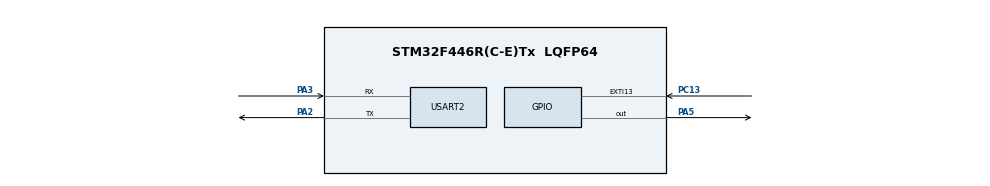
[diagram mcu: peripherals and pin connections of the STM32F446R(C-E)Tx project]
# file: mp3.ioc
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FREERTOS.Tasks01=defaultTask,24,128,StartDefaultTask,Default,NULL,Dynamic,NULL,NULL
FREERTOS.configUSE_NEWLIB_REENTRANT=1
Mcu.Family=STM32F4
Mcu.Name=STM32F446R(C-E)Tx
Mcu.Package=LQFP64
NVIC.EXTI15_10_IRQn=true\:5\:0\:true\:false\:true\:true\:true\:true\:true
NVIC.PriorityGroup=NVIC_PRIORITYGROUP_4
NVIC.TIM6_DAC_IRQn=true\:15\:0\:false\:false\:true\:false\:false\:true\:true
NVIC.TimeBase=TIM6_DAC_IRQn
NVIC.TimeBaseIP=TIM6
PA13.Mode=Serial_Wire
PA13.Signal=SYS_JTMS-SWDIO
PA14.Mode=Serial_Wire
PA14.Signal=SYS_JTCK-SWCLK
PA2.Mode=Asynchronous
PA2.Signal=USART2_TX
PA3.Mode=Asynchronous
PA3.Signal=USART2_RX
PA5.Signal=GPIO_Output
PC13.GPIO_ModeDefaultEXTI=GPIO_MODE_IT_FALLING
PC13.Signal=GPXTI13
PC14-OSC32_IN.Mode=LSE-External-Oscillator
PC14-OSC32_IN.Signal=RCC_OSC32_IN
PC15-OSC32_OUT.Mode=LSE-External-Oscillator
PC15-OSC32_OUT.Signal=RCC_OSC32_OUT
PH0-OSC_IN.Mode=HSE-External-Oscillator
PH0-OSC_IN.Signal=RCC_OSC_IN
PH1-OSC_OUT.Mode=HSE-External-Oscillator
PH1-OSC_OUT.Signal=RCC_OSC_OUT
ProjectManager.HeapSize=0x200
ProjectManager.StackSize=0x400
ProjectManager.TargetToolchain=STM32CubeIDE
RCC.CortexFreq_Value=16000000
RCC.USBFreq_Value=96000000
RCC.VCOOutputFreq_Value=192000000
USART2.VirtualMode=VM_ASYNC
VP_FREERTOS_VS_CMSIS_V2.Mode=CMSIS_V2
VP_SYS_VS_tim6.Mode=TIM6
board=custom

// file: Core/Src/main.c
/* USER CODE BEGIN Header */
/**
  ******************************************************************************
  * @file           : main.c
  * @brief          : Main program body
  ******************************************************************************
  * @attention
  *
  * Copyright (c) 2026 STMicroelectronics.
  * All rights reserved.
  *
  * This software is licensed under terms that can be found in the LICENSE file
  * in the root directory of this software component.
  * If no LICENSE file comes with this software, it is provided AS-IS.
  *
  ******************************************************************************
  */
/* USER CODE END Header */
#include "main.h"
#include "cmsis_os.h"

UART_HandleTypeDef huart2;

/* Definitions for defaultTask */
osThreadId_t defaultTaskHandle;
const osThreadAttr_t defaultTask_attributes = {
  .name = "defaultTask",
  .stack_size = 128 * 4,
  .priority = (osPriority_t) osPriorityNormal,
};

void SystemClock_Config(void);
static void MX_GPIO_Init(void);
static void MX_USART2_UART_Init(void);
void StartDefaultTask(void *argument);

/* USER CODE BEGIN PFP */
void AppRtosInit(void);
/* USER CODE END PFP */

int main(void)
{

  /* MCU Configuration--------------------------------------------------------*/

  /* Reset of all peripherals, Initializes the Flash interface and the Systick. */
  HAL_Init();

  /* Configure the system clock */
  SystemClock_Config();

  /* Initialize all configured peripherals */
  MX_GPIO_Init();
  MX_USART2_UART_Init();

  /* Init scheduler */
  osKernelInitialize();

  /* Create the thread(s) */
  /* creation of defaultTask */
  defaultTaskHandle = osThreadNew(StartDefaultTask, NULL, &defaultTask_attributes);

  /* USER CODE BEGIN RTOS_THREADS */
  /* add threads, ... */
  AppRtosInit();
  /* USER CODE END RTOS_THREADS */

  /* Start scheduler */
  osKernelStart();

  /* We should never get here as control is now taken by the scheduler */

  /* Infinite loop */
  while (1)
  {

  }
}

void SystemClock_Config(void)
{
  RCC_OscInitTypeDef RCC_OscInitStruct = {0};
  RCC_ClkInitTypeDef RCC_ClkInitStruct = {0};

  /** Configure the main internal regulator output voltage
  */
  __HAL_RCC_PWR_CLK_ENABLE();
  __HAL_PWR_VOLTAGESCALING_CONFIG(PWR_REGULATOR_VOLTAGE_SCALE3);

  /** Initializes the RCC Oscillators according to the specified parameters
  * in the RCC_OscInitTypeDef structure.
  */
  RCC_OscInitStruct.OscillatorType = RCC_OSCILLATORTYPE_HSI;
  RCC_OscInitStruct.HSIState = RCC_HSI_ON;
  RCC_OscInitStruct.HSICalibrationValue = RCC_HSICALIBRATION_DEFAULT;
  RCC_OscInitStruct.PLL.PLLState = RCC_PLL_NONE;
  if (HAL_RCC_OscConfig(&RCC_OscInitStruct) != HAL_OK)
  {
    Error_Handler();
  }

  /** Initializes the CPU, AHB and APB buses clocks
  */
  RCC_ClkInitStruct.ClockType = RCC_CLOCKTYPE_HCLK|RCC_CLOCKTYPE_SYSCLK
                              |RCC_CLOCKTYPE_PCLK1|RCC_CLOCKTYPE_PCLK2;
  RCC_ClkInitStruct.SYSCLKSource = RCC_SYSCLKSOURCE_HSI;
  RCC_ClkInitStruct.AHBCLKDivider = RCC_SYSCLK_DIV1;
  RCC_ClkInitStruct.APB1CLKDivider = RCC_HCLK_DIV1;
  RCC_ClkInitStruct.APB2CLKDivider = RCC_HCLK_DIV1;

  if (HAL_RCC_ClockConfig(&RCC_ClkInitStruct, FLASH_LATENCY_0) != HAL_OK)
  {
    Error_Handler();
  }
}

static void MX_USART2_UART_Init(void)
{

  huart2.Instance = USART2;
  huart2.Init.BaudRate = 115200;
  huart2.Init.WordLength = UART_WORDLENGTH_8B;
  huart2.Init.StopBits = UART_STOPBITS_1;
  huart2.Init.Parity = UART_PARITY_NONE;
  huart2.Init.Mode = UART_MODE_TX_RX;
  huart2.Init.HwFlowCtl = UART_HWCONTROL_NONE;
  huart2.Init.OverSampling = UART_OVERSAMPLING_16;
  if (HAL_UART_Init(&huart2) != HAL_OK)
  {
    Error_Handler();
  }

}

static void MX_GPIO_Init(void)
{
  GPIO_InitTypeDef GPIO_InitStruct = {0};

  /* GPIO Ports Clock Enable */
  __HAL_RCC_GPIOC_CLK_ENABLE();
  __HAL_RCC_GPIOH_CLK_ENABLE();
  __HAL_RCC_GPIOA_CLK_ENABLE();

  /*Configure GPIO pin Output Level */
  HAL_GPIO_WritePin(GPIOA, GPIO_PIN_5, GPIO_PIN_RESET);

  /*Configure GPIO pin : PC13 */
  GPIO_InitStruct.Pin = GPIO_PIN_13;
  GPIO_InitStruct.Mode = GPIO_MODE_IT_FALLING;
  GPIO_InitStruct.Pull = GPIO_NOPULL;
  HAL_GPIO_Init(GPIOC, &GPIO_InitStruct);

  /*Configure GPIO pin : PA5 */
  GPIO_InitStruct.Pin = GPIO_PIN_5;
  GPIO_InitStruct.Mode = GPIO_MODE_OUTPUT_PP;
  GPIO_InitStruct.Pull = GPIO_NOPULL;
  GPIO_InitStruct.Speed = GPIO_SPEED_FREQ_LOW;
  HAL_GPIO_Init(GPIOA, &GPIO_InitStruct);

  /* EXTI interrupt init*/
  HAL_NVIC_SetPriority(EXTI15_10_IRQn, 5, 0);
  HAL_NVIC_EnableIRQ(EXTI15_10_IRQn);

}

void StartDefaultTask(void *argument)
{
  for(;;)
  {
    osDelay(1);
  }
}

void HAL_TIM_PeriodElapsedCallback(TIM_HandleTypeDef *htim)
{
  if (htim->Instance == TIM6)
  {
    HAL_IncTick();
  }
}

void Error_Handler(void)
{
  __disable_irq();
  while (1)
  {
  }
}

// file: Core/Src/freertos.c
/* USER CODE BEGIN Header */
/**
  ******************************************************************************
  * File Name          : freertos.c
  * Description        : Code for freertos applications
  ******************************************************************************
  * @attention
  *
  * Copyright (c) 2026 STMicroelectronics.
  * All rights reserved.
  *
  * This software is licensed under terms that can be found in the LICENSE file
  * in the root directory of this software component.
  * If no LICENSE file comes with this software, it is provided AS-IS.
  *
  ******************************************************************************
  */
/* USER CODE END Header */

#include "FreeRTOS.h"
#include "task.h"
#include "main.h"

/* USER CODE BEGIN Includes */
#include "queue.h"
#include "semphr.h"
#include "timers.h"
#include <string.h>
/* USER CODE END Includes */

/* USER CODE BEGIN PD */
#define CHUNK_SIZE   100
#define NUM_CHUNKS   230

static QueueHandle_t     modeQueue;
static SemaphoreHandle_t uartMutex;
static SemaphoreHandle_t emergencySem;
static TaskHandle_t      buttonTaskHandle;
static TimerHandle_t     emergencyTimer;

extern UART_HandleTypeDef huart2;

static const uint32_t halfPeriodMs[3] = {500, 250, 125};   /* 1, 2, 4 Hz */

static void LedTask(void *arg);
static void ButtonTask(void *arg);
static void LongUartTask(void *arg);
static void EmergencyTask(void *arg);
static void EmergencyTimerCb(TimerHandle_t t);
/* USER CODE END PD */

/* USER CODE BEGIN Application */
void AppRtosInit(void)
{
  uint8_t initialMode = 0;
  modeQueue    = xQueueCreate(1, sizeof(uint8_t));
  uartMutex    = xSemaphoreCreateMutex();
  emergencySem = xSemaphoreCreateBinary();
  configASSERT(modeQueue && uartMutex && emergencySem);
  xQueueSend(modeQueue, &initialMode, 0);

  xTaskCreate(EmergencyTask, "Emergency", 256, NULL, 4, NULL);
  xTaskCreate(LedTask,       "LED",       256, NULL, 3, NULL);
  xTaskCreate(ButtonTask,    "Button",    256, NULL, 2, &buttonTaskHandle);
  xTaskCreate(LongUartTask,  "LongUART",  256, NULL, 1, NULL);

  emergencyTimer = xTimerCreate("EmgTmr", pdMS_TO_TICKS(7000), pdTRUE, NULL, EmergencyTimerCb);
  xTimerStart(emergencyTimer, 0);
}

/* Blink LED based on current mode */
static void LedTask(void *arg)
{
  uint8_t mode = 0;
  TickType_t last = xTaskGetTickCount();
  for (;;)
  {
    xQueuePeek(modeQueue, &mode, 0);               /* read without consuming */
    HAL_GPIO_TogglePin(GPIOA, GPIO_PIN_5);
    vTaskDelayUntil(&last, pdMS_TO_TICKS(halfPeriodMs[mode]));
  }
}

/* change mode on button press (not immediate) */
static void ButtonTask(void *arg)
{
  uint8_t mode = 0;
  for (;;)
  {
    ulTaskNotifyTake(pdTRUE, portMAX_DELAY);       /* sleep until ISR */
    vTaskDelay(pdMS_TO_TICKS(50));                 /* debounce */
    if (HAL_GPIO_ReadPin(GPIOC, GPIO_PIN_13) == GPIO_PIN_RESET)
    {
      mode = (mode + 1) % 3;
      xQueueOverwrite(modeQueue, &mode);
    }
    ulTaskNotifyTake(pdTRUE, 0);                   /* discard bounce notifications */
  }
}

/* Send dummy UART signal and then delay 5s */
static void LongUartTask(void *arg)
{
  static uint8_t chunk[CHUNK_SIZE];
  memset(chunk, 'L', CHUNK_SIZE - 2);
  chunk[CHUNK_SIZE - 2] = '\r';
  chunk[CHUNK_SIZE - 1] = '\n';

  TickType_t last = xTaskGetTickCount();
  for (;;)
  {
    for (int i = 0; i < NUM_CHUNKS; i++)
    {
      xSemaphoreTake(uartMutex, portMAX_DELAY);
      HAL_UART_Transmit(&huart2, chunk, CHUNK_SIZE, 100);
      xSemaphoreGive(uartMutex);
    }
    vTaskDelayUntil(&last, pdMS_TO_TICKS(5000));
  }
}

/* send emergency message, highest priority */
static void EmergencyTask(void *arg)
{
  static const char msg[] = "\r\n!!! EMERGENCY !!!\r\n";
  for (;;)
  {
    xSemaphoreTake(emergencySem, portMAX_DELAY);
    xSemaphoreTake(uartMutex, portMAX_DELAY);
    HAL_UART_Transmit(&huart2, (uint8_t *)msg, sizeof(msg) - 1, 100);
    xSemaphoreGive(uartMutex);
  }
}

/* Timer to start emergency task */
static void EmergencyTimerCb(TimerHandle_t t)
{
  xSemaphoreGive(emergencySem);
}

/* Signal the task and get out, yield if something is more important */
void HAL_GPIO_EXTI_Callback(uint16_t GPIO_Pin)
{
  BaseType_t woken = pdFALSE;
  if (GPIO_Pin == GPIO_PIN_13)
  {
    vTaskNotifyGiveFromISR(buttonTaskHandle, &woken);
  }
  portYIELD_FROM_ISR(woken);
}
/* USER CODE END Application */
